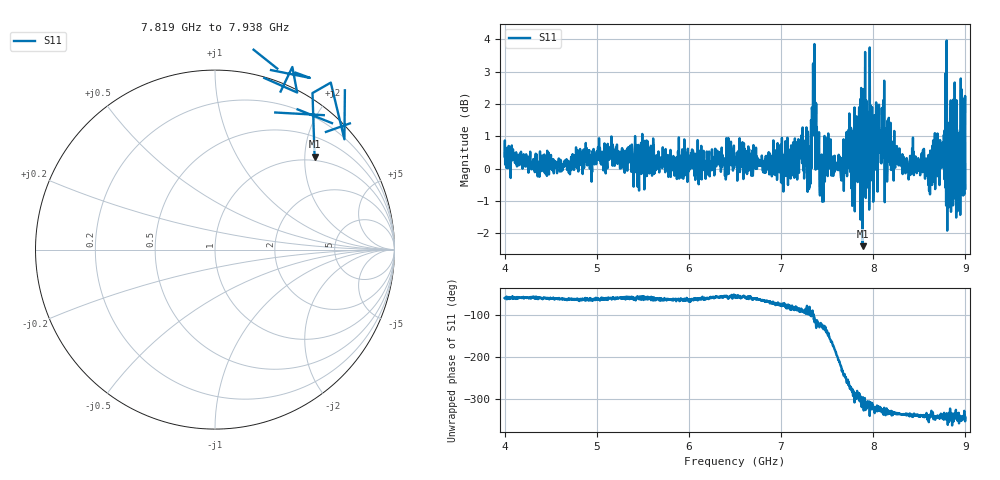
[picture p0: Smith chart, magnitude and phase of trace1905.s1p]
! Created with skrf 1.8.0 (http://scikit-rf.org).
# Hz S RI R 50.0
!freq ReS11 ImS11
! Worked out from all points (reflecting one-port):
!   1601 points, 4 GHz to 9 GHz, reference 50 ohm
!   lowest |S11| = -2.4 dB at 7.884 GHz (marker M1), VSWR 7.30, Z = 45.4 + j111 ohm
!   phase of S11 starts at -59 deg and turns -285 deg over the sweep
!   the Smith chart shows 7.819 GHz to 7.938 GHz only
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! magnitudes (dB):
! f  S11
! 4 GHz  0.4
! 4.625 GHz  0.0
! 5.25 GHz  0.2
! 5.875 GHz  0.1
! 6.5 GHz  0.3
! 7.125 GHz  0.2
! 7.209 GHz  0.3
! 7.294 GHz  0.2
! 7.359 GHz  1.5
! 7.4 GHz  0.0
! 7.441 GHz  0.4
! 7.512 GHz  1.1
! 7.656 GHz  -0.4
! 7.75 GHz  -0.1
! 7.884 GHz  -2.4
! 7.928 GHz  1.4
! 8.003 GHz  -0.7
! 8.097 GHz  1.0
! 8.147 GHz  1.0
! 8.375 GHz  0.0
! 8.612 GHz  0.4
! 8.766 GHz  1.0
! 8.775 GHz  1.2
! 8.841 GHz  2.1
! 8.897 GHz  1.5
! 8.919 GHz  -0.2
! 8.972 GHz  0.9
! 9 GHz  -0.6
